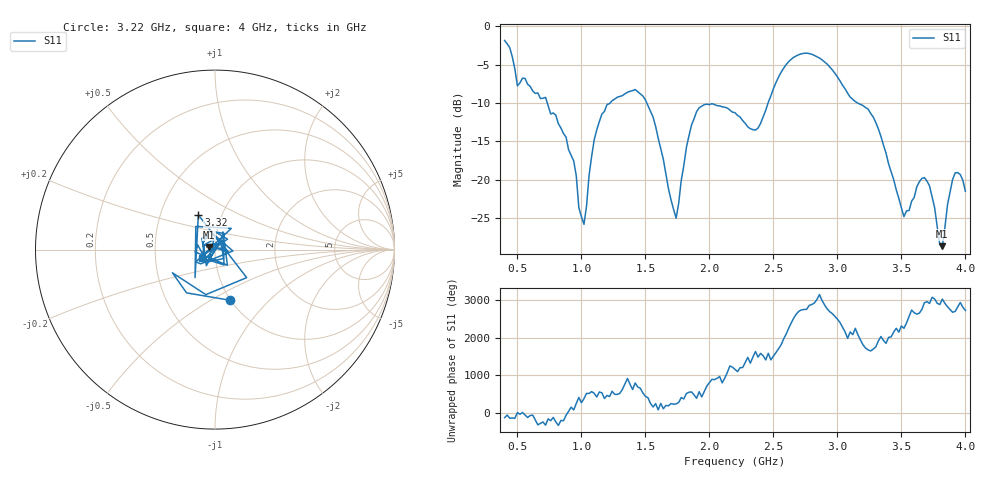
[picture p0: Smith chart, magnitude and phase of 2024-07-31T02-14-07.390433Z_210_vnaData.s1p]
!Created with skrf (http://scikit-rf.org).
# Hz S RI R 50.0
!freq ReS11 ImS11
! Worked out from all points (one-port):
!   181 points, 400 MHz to 4 GHz, reference 50 ohm
!   lowest |S11| = -28.7 dB at 3.82 GHz (marker M1), VSWR 1.08, Z = 46.7 + j1.35 ohm
!   |S11| at or under -10 dB: 733.3 MHz to 1.224 GHz (490.9 MHz wide, 50.2 % of centre); 1.511 GHz to 2.459 GHz (947.7 MHz wide, 47.8 % of centre); 3.157 GHz to end of sweep
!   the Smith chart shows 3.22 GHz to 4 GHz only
!   S11 on the Smith chart (normalised r, x): 3.22 GHz: 1.00, -0.62; 3.32 GHz: 0.77, +0.31; 4 GHz: 0.87, -0.08
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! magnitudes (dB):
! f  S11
! 400 MHz  -1.9
! 500 MHz  -7.8
! 720 MHz  -9.3
! 860 MHz  -14.0
! 940 MHz  -17.6
! 980 MHz  -23.7
! 1.02 GHz  -25.8
! 1.12 GHz  -13.5
! 1.3 GHz  -9.1
! 1.5 GHz  -9.6
! 1.58 GHz  -13.1
! 1.74 GHz  -25.0
! 1.76 GHz  -23.1
! 1.82 GHz  -15.8
! 1.9 GHz  -11.1
! 2.2 GHz  -11.3
! 2.38 GHz  -13.3
! 2.66 GHz  -4.0
! 2.86 GHz  -4.1
! 3.1 GHz  -9.2
! 3.22 GHz  -10.6
! 3.32 GHz  -13.4
! 3.52 GHz  -24.8
! 3.56 GHz  -24.0
! 3.68 GHz  -19.7
! 3.82 GHz  -28.7
! 3.92 GHz  -19.1
! 4 GHz  -21.5
